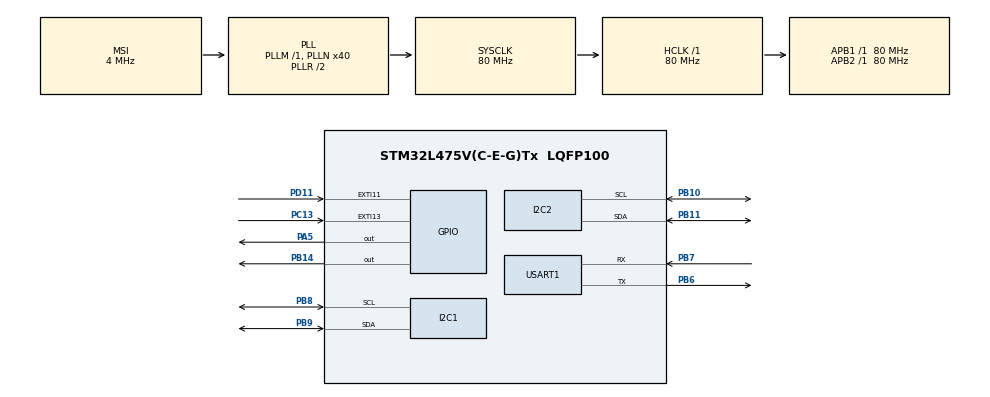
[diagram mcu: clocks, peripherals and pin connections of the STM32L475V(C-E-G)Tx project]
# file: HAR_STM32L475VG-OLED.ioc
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I2C1.Timing=0x10909CEC
I2C2.Timing=0x10909CEC
Mcu.Family=STM32L4
Mcu.Name=STM32L475V(C-E-G)Tx
Mcu.Package=LQFP100
NVIC.EXTI15_10_IRQn=true\:0\:0\:false\:false\:true\:true\:true
NVIC.PriorityGroup=NVIC_PRIORITYGROUP_4
NVIC.TIM6_DAC_IRQn=true\:0\:0\:false\:false\:true\:true\:true
PA13\ (JTMS-SWDIO).Mode=Serial_Wire
PA13\ (JTMS-SWDIO).Signal=SYS_JTMS-SWDIO
PA14\ (JTCK-SWCLK).Mode=Serial_Wire
PA14\ (JTCK-SWCLK).Signal=SYS_JTCK-SWCLK
PA5.Signal=GPIO_Output
PB10.Mode=I2C
PB10.Signal=I2C2_SCL
PB11.Mode=I2C
PB11.Signal=I2C2_SDA
PB14.Signal=GPIO_Output
PB6.Mode=Asynchronous
PB6.Signal=USART1_TX
PB7.Mode=Asynchronous
PB7.Signal=USART1_RX
PB8.Mode=I2C
PB8.Signal=I2C1_SCL
PB9.Mode=I2C
PB9.Signal=I2C1_SDA
PC13.Signal=GPXTI13
PD11.Signal=GPXTI11
ProjectManager.HeapSize=0x200
ProjectManager.StackSize=0x400
ProjectManager.TargetToolchain=MDK-ARM V5.27
RCC.AHBFreq_Value=80000000
RCC.APB1Freq_Value=80000000
RCC.APB1TimFreq_Value=80000000
RCC.APB2Freq_Value=80000000
RCC.APB2TimFreq_Value=80000000
RCC.CortexFreq_Value=80000000
RCC.HCLKFreq_Value=80000000
RCC.HSE_VALUE=8000000
RCC.HSI_VALUE=16000000
RCC.LSE_VALUE=32768
RCC.MSI_VALUE=4000000
RCC.PLLN=40
RCC.SYSCLKFreq_VALUE=80000000
RCC.SYSCLKSource=RCC_SYSCLKSOURCE_PLLCLK
RCC.VCOOutputFreq_Value=160000000
STMicroelectronics.X-CUBE-AI.5.0.0.ActivationBufferSizeList=36720
STMicroelectronics.X-CUBE-AI.5.0.0.ApplicationCcArtificialOoIntelligenceJjApplication=ApplicationTemplate
STMicroelectronics.X-CUBE-AI.5.0.0.HeapSize=0x200
STMicroelectronics.X-CUBE-AI.5.0.0.InternalRamActivationBufferMaxSize=AI_HAR_NETWORK_DATA_ACTIVATIONS_SIZE
STMicroelectronics.X-CUBE-AI.5.0.0.LatestDirectoryUsed-50c57a0711081b9f9b83efe2918cfd1778ac5f67980d076369e4d08b68d3d7b2=D\:\\MCU\\B-L475E-IOT01A\\HAR_STM32L475VG
STMicroelectronics.X-CUBE-AI.5.0.0.MaximumNumberOfInputLayer=1
STMicroelectronics.X-CUBE-AI.5.0.0.MaximumNumberOfOutputLayer=1
STMicroelectronics.X-CUBE-AI.5.0.0.MaximumSizeOfInputLayer=4800
STMicroelectronics.X-CUBE-AI.5.0.0.MaximumSizeOfOutputLayer=48
STMicroelectronics.X-CUBE-AI.5.0.0.ModelActualCompression-50c57a0711081b9f9b83efe2918cfd1778ac5f67980d076369e4d08b68d3d7b2=0.0
STMicroelectronics.X-CUBE-AI.5.0.0.ModelCompression-50c57a0711081b9f9b83efe2918cfd1778ac5f67980d076369e4d08b68d3d7b2=1
STMicroelectronics.X-CUBE-AI.5.0.0.ModelFlashOccupation-50c57a0711081b9f9b83efe2918cfd1778ac5f67980d076369e4d08b68d3d7b2=161064
STMicroelectronics.X-CUBE-AI.5.0.0.ModelHashList=50c57a0711081b9f9b83efe2918cfd1778ac5f67980d076369e4d08b68d3d7b2
STMicroelectronics.X-CUBE-AI.5.0.0.ModelKind-50c57a0711081b9f9b83efe2918cfd1778ac5f67980d076369e4d08b68d3d7b2=KERAS
STMicroelectronics.X-CUBE-AI.5.0.0.ModelMacc-50c57a0711081b9f9b83efe2918cfd1778ac5f67980d076369e4d08b68d3d7b2=5283168
STMicroelectronics.X-CUBE-AI.5.0.0.ModelName-50c57a0711081b9f9b83efe2918cfd1778ac5f67980d076369e4d08b68d3d7b2=har_network
STMicroelectronics.X-CUBE-AI.5.0.0.ModelNameList=har_network
STMicroelectronics.X-CUBE-AI.5.0.0.ModelRamOccupation-50c57a0711081b9f9b83efe2918cfd1778ac5f67980d076369e4d08b68d3d7b2=36720
STMicroelectronics.X-CUBE-AI.5.0.0.ModelStructureFile-50c57a0711081b9f9b83efe2918cfd1778ac5f67980d076369e4d08b68d3d7b2=model.h5
STMicroelectronics.X-CUBE-AI.5.0.0.ModelType-50c57a0711081b9f9b83efe2918cfd1778ac5f67980d076369e4d08b68d3d7b2=Saved model
STMicroelectronics.X-CUBE-AI.5.0.0.NNModelInformation_AchievedCompression-50c57a0711081b9f9b83efe2918cfd1778ac5f67980d076369e4d08b68d3d7b2=0.0
STMicroelectronics.X-CUBE-AI.5.0.0.NNModelInformation_CompressionFactor-50c57a0711081b9f9b83efe2918cfd1778ac5f67980d076369e4d08b68d3d7b2=0.0
STMicroelectronics.X-CUBE-AI.5.0.0.NNModelInformation_EvaluationStatus-50c57a0711081b9f9b83efe2918cfd1778ac5f67980d076369e4d08b68d3d7b2=NOT EVALUATED
STMicroelectronics.X-CUBE-AI.5.0.0.NNModelInformation_HeapSizeNeeded-50c57a0711081b9f9b83efe2918cfd1778ac5f67980d076369e4d08b68d3d7b2=1024
STMicroelectronics.X-CUBE-AI.5.0.0.NNModelInformation_ModelInSizeByName-50c57a0711081b9f9b83efe2918cfd1778ac5f67980d076369e4d08b68d3d7b2={input_1\=4800}
STMicroelectronics.X-CUBE-AI.5.0.0.NNModelInformation_ModelMacc-50c57a0711081b9f9b83efe2918cfd1778ac5f67980d076369e4d08b68d3d7b2=5283168
STMicroelectronics.X-CUBE-AI.5.0.0.NNModelInformation_ModelName-50c57a0711081b9f9b83efe2918cfd1778ac5f67980d076369e4d08b68d3d7b2=har_network
STMicroelectronics.X-CUBE-AI.5.0.0.NNModelInformation_ModelOutSizeByName-50c57a0711081b9f9b83efe2918cfd1778ac5f67980d076369e4d08b68d3d7b2={activation_4\=48}
STMicroelectronics.X-CUBE-AI.5.0.0.NNModelInformation_ModelRam-50c57a0711081b9f9b83efe2918cfd1778ac5f67980d076369e4d08b68d3d7b2=36720
STMicroelectronics.X-CUBE-AI.5.0.0.NNModelInformation_ModelRom-50c57a0711081b9f9b83efe2918cfd1778ac5f67980d076369e4d08b68d3d7b2=161064
STMicroelectronics.X-CUBE-AI.5.0.0.NNModelInformation_ModelSize-50c57a0711081b9f9b83efe2918cfd1778ac5f67980d076369e4d08b68d3d7b2=161064
STMicroelectronics.X-CUBE-AI.5.0.0.NNModelInformation_NbOfParameters-50c57a0711081b9f9b83efe2918cfd1778ac5f67980d076369e4d08b68d3d7b2=40266
STMicroelectronics.X-CUBE-AI.5.0.0.StackSize=0x400
STMicroelectronics.X-CUBE-AI.5.0.0.WorkingBufferStartAddrList=0xFFFFFFFF
STMicroelectronics.X-CUBE-AI.5.0.0.XAaCUBEAaAICcArtificialOoIntelligenceJjCore=true
TIM6.Period=19
TIM6.Prescaler=39999
USART1.VirtualMode-Asynchronous=VM_ASYNC
VP_CRC_VS_CRC.Mode=CRC_Activate
VP_STMicroelectronics.X-CUBE-AI_VS_ArtificialOoIntelligenceJjApplication_5.0.0.Mode=ArtificialOoIntelligenceJjApplication
VP_STMicroelectronics.X-CUBE-AI_VS_ArtificialOoIntelligenceJjXAaCUBEAaAI_5.0.0.Mode=ArtificialOoIntelligenceJjXAaCUBEAaAI
VP_TIM6_VS_ClockSourceINT.Mode=Enable_Timer
board=custom

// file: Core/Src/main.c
/* USER CODE BEGIN Header */
/**
  ******************************************************************************
  * @file           : main.c
  * @brief          : Main program body
  ******************************************************************************
  * @attention
  *
  * <h2><center>&copy; Copyright (c) 2020 STMicroelectronics.
  * All rights reserved.</center></h2>
  *
  * This software component is licensed by ST under Ultimate Liberty license
  * SLA0044, the "License"; You may not use this file except in compliance with
  * the License. You may obtain a copy of the License at:
  *                             www.st.com/SLA0044
  *
  ******************************************************************************
  */
/* USER CODE END Header */

#include "main.h"
#include "crc.h"
#include "i2c.h"
#include "tim.h"
#include "usart.h"
#include "gpio.h"
#include "app_x-cube-ai.h"

void SystemClock_Config(void);

/* USER CODE BEGIN 0 */
char *activity[12]={
"Forward",
"Left",
"Right",
"Upstairs",
"Downstairs",
"Running",
"Jumping",
"Sitting",
"Standing",
"Sleeping",
"Elevator Up",
"Elevator Down"
};
int8_t res_act=0;
/* USER CODE END 0 */

int main(void)
{

  /* MCU Configuration--------------------------------------------------------*/

  /* Reset of all peripherals, Initializes the Flash interface and the Systick. */
  HAL_Init();

  /* Configure the system clock */
  SystemClock_Config();

  /* Initialize all configured peripherals */
  MX_GPIO_Init();
  MX_CRC_Init();
  MX_I2C1_Init();
  MX_I2C2_Init();
  MX_TIM6_Init();
  MX_USART1_UART_Init();
  MX_X_CUBE_AI_Init();
  /* USER CODE BEGIN 2 */
  OLED_Init(); // 初始化OLED显示
	OLED_Display_On();
	OLED_On();
	HAL_Delay(500);
	BSP_ACCELERO_Init();
	BSP_GYRO_Init();
	HAL_TIM_Base_Start_IT(&htim6);// 定时�?6中断使能
	OLED_Clear();
	printf("finish init!\r\n");
  /* USER CODE END 2 */

  /* Infinite loop */
  while (1)
  {
  }
}

void SystemClock_Config(void)
{
  RCC_OscInitTypeDef RCC_OscInitStruct = {0};
  RCC_ClkInitTypeDef RCC_ClkInitStruct = {0};
  RCC_PeriphCLKInitTypeDef PeriphClkInit = {0};

  /** Initializes the CPU, AHB and APB busses clocks
  */
  RCC_OscInitStruct.OscillatorType = RCC_OSCILLATORTYPE_MSI;
  RCC_OscInitStruct.MSIState = RCC_MSI_ON;
  RCC_OscInitStruct.MSICalibrationValue = 0;
  RCC_OscInitStruct.MSIClockRange = RCC_MSIRANGE_6;
  RCC_OscInitStruct.PLL.PLLState = RCC_PLL_ON;
  RCC_OscInitStruct.PLL.PLLSource = RCC_PLLSOURCE_MSI;
  RCC_OscInitStruct.PLL.PLLM = 1;
  RCC_OscInitStruct.PLL.PLLN = 40;
  RCC_OscInitStruct.PLL.PLLP = RCC_PLLP_DIV7;
  RCC_OscInitStruct.PLL.PLLQ = RCC_PLLQ_DIV2;
  RCC_OscInitStruct.PLL.PLLR = RCC_PLLR_DIV2;
  if (HAL_RCC_OscConfig(&RCC_OscInitStruct) != HAL_OK)
  {
    Error_Handler();
  }
  /** Initializes the CPU, AHB and APB busses clocks
  */
  RCC_ClkInitStruct.ClockType = RCC_CLOCKTYPE_HCLK|RCC_CLOCKTYPE_SYSCLK
                              |RCC_CLOCKTYPE_PCLK1|RCC_CLOCKTYPE_PCLK2;
  RCC_ClkInitStruct.SYSCLKSource = RCC_SYSCLKSOURCE_PLLCLK;
  RCC_ClkInitStruct.AHBCLKDivider = RCC_SYSCLK_DIV1;
  RCC_ClkInitStruct.APB1CLKDivider = RCC_HCLK_DIV1;
  RCC_ClkInitStruct.APB2CLKDivider = RCC_HCLK_DIV1;

  if (HAL_RCC_ClockConfig(&RCC_ClkInitStruct, FLASH_LATENCY_4) != HAL_OK)
  {
    Error_Handler();
  }
  PeriphClkInit.PeriphClockSelection = RCC_PERIPHCLK_USART1|RCC_PERIPHCLK_I2C1
                              |RCC_PERIPHCLK_I2C2;
  PeriphClkInit.Usart1ClockSelection = RCC_USART1CLKSOURCE_PCLK2;
  PeriphClkInit.I2c1ClockSelection = RCC_I2C1CLKSOURCE_PCLK1;
  PeriphClkInit.I2c2ClockSelection = RCC_I2C2CLKSOURCE_PCLK1;
  if (HAL_RCCEx_PeriphCLKConfig(&PeriphClkInit) != HAL_OK)
  {
    Error_Handler();
  }
  /** Configure the main internal regulator output voltage
  */
  if (HAL_PWREx_ControlVoltageScaling(PWR_REGULATOR_VOLTAGE_SCALE1) != HAL_OK)
  {
    Error_Handler();
  }
}

void Error_Handler(void)
{
}

/************************ (C) COPYRIGHT STMicroelectronics *****END OF FILE****/
